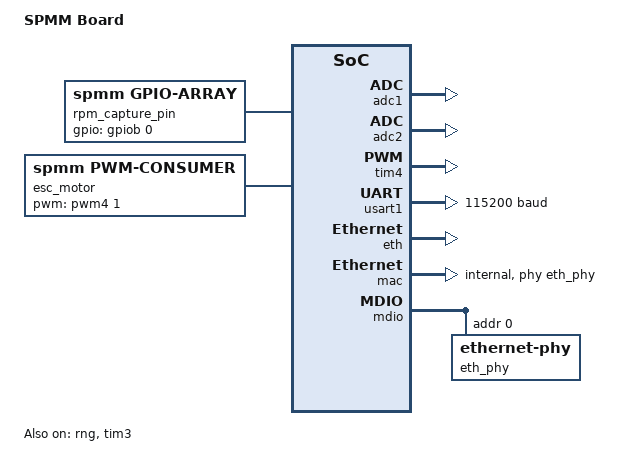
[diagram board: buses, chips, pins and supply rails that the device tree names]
/dts-v1/;
#include <wch/ch32v307/ch32v307vc.dtsi>
#include <zephyr/dt-bindings/gpio/gpio.h>
#include <zephyr/dt-bindings/pinctrl/ch32v20x_30x-pinctrl.h>
#include <zephyr/dt-bindings/pwm/pwm.h>
#include <zephyr/dt-bindings/clock/ch32v20x_30x-clocks.h>

#define CH32V20X_V30X_PINMUX_ADC1_RM 0

/ {
    model = "SPMM Board";
    compatible = "wch,ch32v307";

    chosen {
        zephyr,sram    = &sram0;
        zephyr,flash   = &flash0;
        zephyr,console = &usart1;   /* LOG local para debug de bancada */
    };

    /* ==================================================================
     * MEDICAO COMPLETA — 3 correntes + 3 tensoes de fase (dq real)
     *
     * ADC1 (DMA1 canal 1): correntes de fase
     *   idx 0 -> CH0 / PA0 : Ia
     *   idx 1 -> CH1 / PA1 : Ib
     *   idx 2 -> CH2 / PA2 : Ic
     * ADC2 (DMA1 canal 2): tensoes de fase (para estimar theta_e -> Park)
     *   idx 0 -> CH3 / PA3 : Va
     *   idx 1 -> CH4 / PA4 : Vb
     *   idx 2 -> CH5 / PA5 : Vc
     *
     * Driver custom adc_ch32v307 (NAO o padrao, que conflita com a Ethernet).
     * O driver suporta 2 instancias (ADC1 base 0x40012400, ADC2 base
     * 0x40012800), cada uma com seu proprio canal DMA1.
     *
     * >>> RISCO DE HARDWARE (validar na bancada) <<<
     * Em silicio estilo F103, o ADC2 normalmente NAO possui request de DMA
     * proprio (so ADC1). Se o ADC2 do CH32V307 nao disparar DMA1-ch2, o
     * scan de tensao nao avanca e sera preciso: (a) migrar as tensoes para
     * o ADC1 (6 canais num scan so), ou (b) usar dual-mode simultaneo. Ver
     * CLAUDE.md. As correntes (ADC1) funcionam independentemente disso.
     * ================================================================== */
    adc1: adc@40012400 {
        compatible = "wch,adc";
        reg = <0x40012400 0x400>;
        clocks = <&rcc CH32V20X_V30X_CLOCK_ADC1>;
        interrupt-parent = <&pfic>;
        interrupts = <34>;
        dmas = <&dma1 1>;
        dma-names = "rx";
        pinctrl-0 = <&adc1_default>;
        pinctrl-names = "default";
        status = "okay";
        #io-channel-cells = <1>;
    };

    adc2: adc@40012800 {
        compatible = "wch,adc";
        reg = <0x40012800 0x400>;
        clocks = <&rcc CH32V20X_V30X_CLOCK_ADC2>;
        interrupt-parent = <&pfic>;
        interrupts = <34>;          /* ADC1_2 compartilham a IRQ; driver usa a do DMA */
        dmas = <&dma1 2>;
        dma-names = "rx";
        pinctrl-0 = <&adc2_default>;
        pinctrl-names = "default";
        status = "okay";
        #io-channel-cells = <1>;
    };

    /* ==================================================================
     * TIM3 CH3 (PB0) — input capture do sensor de rotacao
     *   14 polos -> 7 pulsos/volta (Hall) ou disco optico
     * ================================================================== */
    tim3: timer@40000400 {
        compatible = "wch,gptm";
        reg = <0x40000400 0x400>;
        clocks = <&rcc CH32V20X_V30X_CLOCK_TIM3>;
        interrupt-parent = <&pfic>;
        interrupts = <45>;
        channels = <4>;
        status = "okay";
        prescaler = <0>;
    };

    rpm_capture_pin: rpm-capture-pin {
        compatible = "spmm,gpio-array";
        gpios = <&gpiob 0 GPIO_ACTIVE_HIGH>;
    };

    /* ==================================================================
     * TIM4 CH1 (PB6) — PWM de SERVO para o throttle do ESC
     *   Periodo 20ms (50Hz), pulso 1000-2000us (padrao RC).
     *   prescaler=143 -> 1 tick = 2us @ 72MHz (base de servo, NAO potencia)
     * ================================================================== */
    tim4: timer@40000800 {
        compatible = "wch,gptm";
        reg = <0x40000800 0x400>;
        clocks = <&rcc CH32V20X_V30X_CLOCK_TIM4>;
        interrupt-parent = <&pfic>;
        interrupts = <46>;
        channels = <4>;
        prescaler = <143>;
        status = "okay";

        pwm4: pwm {
            compatible = "wch,gptm-pwm";
            #pwm-cells = <3>;
            pinctrl-0 = <&tim4_ch1_default>;
            pinctrl-names = "default";
            status = "okay";
        };
    };

    esc_motor: esc-motor {
        compatible = "spmm,pwm-consumer";
        pwms = <&pwm4 1 PWM_USEC(20000) PWM_POLARITY_NORMAL>;
    };
};

/* ==================================================================== *
 * PINCTRL                                                               *
 * ==================================================================== */

&pinctrl {

    adc1_default: adc1_default {
        group1 {
            pinmux = <CH32V20X_V30X_PINMUX_DEFINE(PA, 0, ADC1, 0)>;   /* CH0 - Ia */
        };
        group2 {
            pinmux = <CH32V20X_V30X_PINMUX_DEFINE(PA, 1, ADC1, 0)>;   /* CH1 - Ib */
        };
        group3 {
            pinmux = <CH32V20X_V30X_PINMUX_DEFINE(PA, 2, ADC1, 0)>;   /* CH2 - Ic */
        };
    };

    adc2_default: adc2_default {
        group1 {
            pinmux = <CH32V20X_V30X_PINMUX_DEFINE(PA, 3, ADC1, 0)>;   /* CH3 - Va */
        };
        group2 {
            pinmux = <CH32V20X_V30X_PINMUX_DEFINE(PA, 4, ADC1, 0)>;   /* CH4 - Vb */
        };
        group3 {
            pinmux = <CH32V20X_V30X_PINMUX_DEFINE(PA, 5, ADC1, 0)>;   /* CH5 - Vc */
        };
    };

    usart1_default: usart1_default {
        group1 {
            pinmux = <USART1_TX_PA9_0>;
            output-high;
            drive-push-pull;
            slew-rate = "max-speed-10mhz";
        };
        group2 {
            pinmux = <USART1_RX_PA10_0>;
            bias-pull-up;
        };
    };

    tim4_ch1_default: tim4_ch1_default {
        group1 {
            pinmux = <CH32V20X_V30X_PINMUX_DEFINE(PB, 6, TIM4, 0)>;
            drive-push-pull;
            slew-rate = "max-speed-50mhz";
        };
    };

    mac_default: mac_default {
        mac_internal_rxp {
            pinmux = <CH32V20X_V30X_PINMUX_DEFINE(PC, 6, ETH, 0)>;
            slew-rate = "max-speed-50mhz";
        };
        mac_internal_rxn {
            pinmux = <CH32V20X_V30X_PINMUX_DEFINE(PC, 7, ETH, 0)>;
            slew-rate = "max-speed-50mhz";
        };
        mac_internal_txp {
            pinmux = <CH32V20X_V30X_PINMUX_DEFINE(PC, 8, ETH, 0)>;
            slew-rate = "max-speed-50mhz";
        };
        mac_internal_txn {
            pinmux = <CH32V20X_V30X_PINMUX_DEFINE(PC, 9, ETH, 0)>;
            slew-rate = "max-speed-50mhz";
        };
    };

    mdio_default: mdio_default {
        /* PHY interno - sem pinos MDIO externos necessarios */
    };
};

/* ==================================================================== *
 * CLOCKS / GPIO / PERIFERICOS                                           *
 * ==================================================================== */

&clk_hse { status = "okay"; };
&pll     { clocks = <&clk_hse>; status = "okay"; };
&rcc     { clocks = <&pll>; };

&gpioa { status = "okay"; };
&gpiob { status = "okay"; };
&gpioc { status = "okay"; };

/* dma1 fica "disabled" como CONTROLLER GENERICO Zephyr (dma_wch.c): o driver
 * custom adc_ch32v307.c NAO usa a API generica de DMA (faz MMIO direto), so
 * precisa da celula "channel" de `dmas = <&dma1 1>` (resolvida em compile
 * time). Deixar dma1 "okay" faria dma_wch e adc_ch32v307 disputarem a mesma
 * IRQ do canal 1 = conflito. Ver comentario identico na SIBA. */
&dma1 { status = "disabled"; };

&usart1 {
    status = "okay";
    current-speed = <115200>;
    pinctrl-0 = <&usart1_default>;
    pinctrl-names = "default";
};

/* Ethernet interno (Telnet + log UDP). FIXES herdados da SIBA:
 *  - &eth okay: habilita o controller pai (sobe o clock do MAC).
 *  - local-mac-address fixo: evita leitura da OTP (que, zerada, trava o boot).
 *  - internal-phy-pllmul/prediv: HSE 8MHz / prediv2=2 * pllmul=15 = 60MHz. */
&eth  { status = "okay"; };

&mac {
    status = "okay";
    pinctrl-0 = <&mac_default>;
    pinctrl-names = "default";
    phy-connection-type = "internal";
    phy-handle = <&eth_phy>;
    local-mac-address = [02 00 00 05 02 07];
    internal-phy-pllmul = "15";
    internal-phy-prediv = "2";
};

&mdio {
    status = "okay";
    pinctrl-0 = <&mdio_default>;
    pinctrl-names = "default";
    eth_phy: ethernet-phy@0 {
        compatible = "ethernet-phy";
        reg = <0x00>;
    };
};

&rng { status = "okay"; };

&sram0  { reg = <0x20000000 DT_SIZE_K(128)>; };
&flash0 { reg = <0x08000000 DT_SIZE_K(198)>; };
